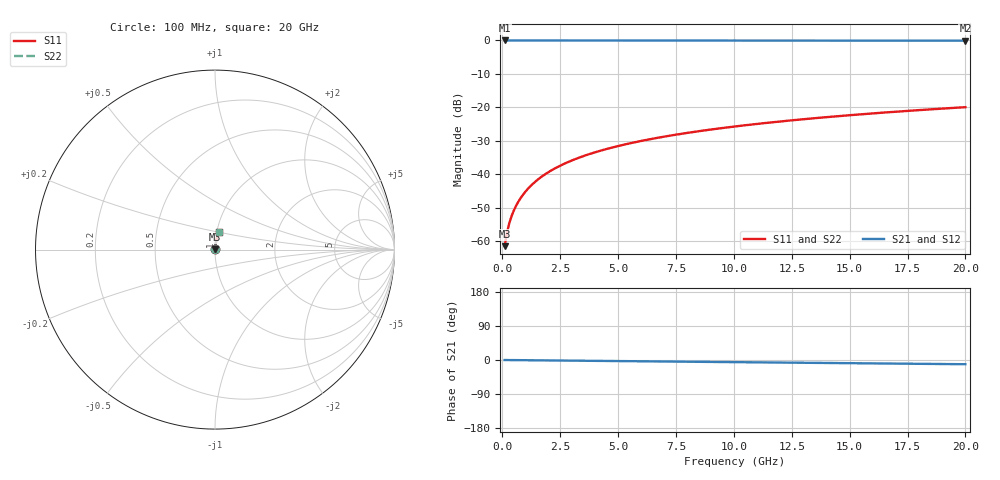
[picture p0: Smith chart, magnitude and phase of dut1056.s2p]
! Touchstone file exported from HFSS 2026.1.0
!  File:  C:/ffzhzh/LocalFiles/Ansys_Project_Files/temp_train_BSMRDL_1056_1783174020_43440.aedt
!  Generated:  10:08:09 PM Jul  4, 2026
!  Design:  BSMRDL
!  Project:  temp_train_BSMRDL_1056_1783174020_43440
! Variables:
!  h_bsmrdl = 4.97um
!  h_ox = 20um
!  h_rdl = 5um
!  h_sub = 80um
!  h_tmrdl = 5um
!  h_tsv = 80um
!  h_via = 3um
!  l_bsmrdl = 139.34um
!  l_sub = 539.34um
!  l_tmrdl = 200um
!  m_sub = 200um
!  pitch = 45.16um
!  r_tsv = 6um
!  s_tmrdl = 10um
!  w_bsmrdl = 23.43um
!  w_sub = 500um
!  w_tmrdl = 12um
!  x_tsv_center1 = 206um
!  x_tsv_center2 = 368.77um
!  x_tsv_center3 = 580.77um
!  x_tsv_center4 = 743.54um
!  x_tsv_center5 = 955.54um
!  x_tsv_center6 = 1118.31um
# GHz S MA R 50.000000
! Terminal data exported
! Port[1] = BSM_RDL1_1_T1
! Port[2] = BSM_RDL1_1_T2
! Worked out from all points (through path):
!   200 points, 100 MHz to 20 GHz, reference 50 ohm
!   highest |S21| = -0.01 dB at 100 MHz (marker M1); lowest = -0.1 dB at 20 GHz (marker M2)
!   group delay of S21, straight-line fit = 1.55 ps
!   lowest |S11| = -61.6 dB at 100 MHz (marker M3), VSWR 1.00, Z = 50.1 + j0.0593 ohm
!   |S11| at or under -10 dB: start of sweep to end of sweep
!   |S22| runs from -61.6 to -20.0 dB; largest |S21 - S12| = 4.1e-15
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0.1  0.0008349 45.2  0.9994 -0.1  0.9994 -0.1  0.0008349 45.2
! Gamma 0 0 0 0
! Port Impedance 50 0 50 0
0.2  0.00132 61.5  0.9994 -0.1  0.9994 -0.1  0.00132 61.5
0.3  0.001834 68.5  0.9993 -0.2  0.9993 -0.2  0.001834 68.5
0.4  0.002348 72.5  0.9993 -0.2  0.9993 -0.2  0.002348 72.5
0.5  0.002863 75.1  0.9993 -0.3  0.9993 -0.3  0.002863 75.1
0.6  0.003381 77.0  0.9992 -0.4  0.9992 -0.4  0.003381 77.0
0.8  0.004422 79.5  0.9992 -0.5  0.9992 -0.5  0.004422 79.5
1.1  0.005997 81.6  0.9992 -0.6  0.9992 -0.6  0.005997 81.6
1.5  0.008105 83.0  0.9991 -0.9  0.9991 -0.9  0.008105 83.0
1.8  0.009687 83.6  0.999 -1.0  0.999 -1.0  0.009687 83.6
2.1  0.01127 83.9  0.999 -1.2  0.999 -1.2  0.01127 83.9
2.7  0.01441 84.2  0.9988 -1.6  0.9988 -1.6  0.01441 84.2
3.5  0.01858 84.2  0.9986 -2.0  0.9986 -2.0  0.01858 84.2
4.2  0.02219 84.1  0.9984 -2.4  0.9984 -2.4  0.02219 84.1
5  0.02628 83.8  0.9981 -2.9  0.9981 -2.9  0.02628 83.8
5.9  0.03085 83.5  0.9978 -3.4  0.9978 -3.4  0.03085 83.5
6.8  0.03539 83.2  0.9975 -3.9  0.9975 -3.9  0.03539 83.2
8.3  0.04291 82.5  0.997 -4.7  0.997 -4.7  0.04291 82.5
10.1  0.05188 81.8  0.9963 -5.7  0.9963 -5.7  0.05188 81.8
13.4  0.06821 80.2  0.995 -7.5  0.995 -7.5  0.06821 80.2
16.7  0.08438 78.6  0.9935 -9.3  0.9935 -9.3  0.08438 78.6
20  0.1004 77.0  0.9917 -11.2  0.9917 -11.2  0.1004 77.0
